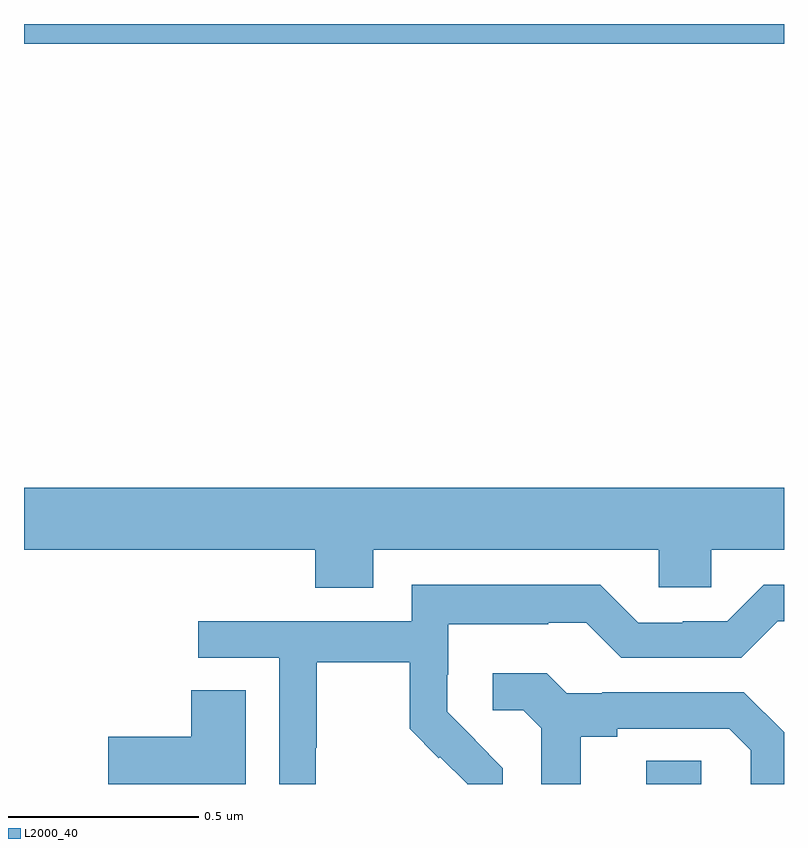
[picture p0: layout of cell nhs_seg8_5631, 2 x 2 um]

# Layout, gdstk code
import gdstk
lib = gdstk.Library(unit=1e-6, precision=1e-09)
def R(c, l, rs):  # rectangles x0, y0, x1, y1
    for r in rs: c.add(gdstk.rectangle(r[:2], r[2:], *l))
def P(c, l, *ps):  # polygons
    for p in ps: c.add(gdstk.Polygon(p, *l))
L2000_40 = (2000, 40)

nhs_seg8_5631 = lib.new_cell('nhs_seg8_5631')
R(nhs_seg8_5631, L2000_40, [(187.637,1099.9,187.782,1099.961), (186,1101.848,188,1101.9)])
P(nhs_seg8_5631, L2000_40, [(186,1100.516),(186.767,1100.516),(186.767,1100.417),(186.919,1100.417),(186.919,1100.516),(187.671,1100.516),(187.671,1100.418),(187.809,1100.418),(187.809,1100.516),(188,1100.516),(188,1100.68),(186,1100.68)],
  [(186.768,1099.996),(186.771,1099.996),(186.771,1100.22),(187.015,1100.22),(187.015,1100.045),(187.092,1099.968),(187.095,1099.971),(187.166,1099.901),(187.166,1099.9),(187.26,1099.9),(187.26,1099.942),(187.187,1100.015),(187.188,1100.016),(187.114,1100.09),(187.114,1100.187),(187.116,1100.187),(187.116,1100.321),(187.379,1100.321),(187.379,1100.325),(187.479,1100.325),(187.572,1100.232),(187.887,1100.232),(187.983,1100.328),(188,1100.328),(188,1100.424),(187.947,1100.424),(187.851,1100.328),(187.733,1100.328),(187.733,1100.325),(187.617,1100.325),(187.517,1100.425),(187.02,1100.425),(187.02,1100.328),(186.459,1100.328),(186.459,1100.232),(186.672,1100.232),(186.672,1099.9),(186.768,1099.9)],
  [(187.465,1100.024),(187.561,1100.024),(187.561,1100.046),(187.856,1100.046),(187.913,1099.989),(187.913,1099.9),(188,1099.9),(188,1100.036),(187.894,1100.142),(187.522,1100.142),(187.522,1100.139),(187.428,1100.139),(187.376,1100.191),(187.233,1100.191),(187.233,1100.094),(187.314,1100.094),(187.361,1100.047),(187.361,1099.9),(187.465,1099.9)],
  [(186.583,1100.147),(186.44,1100.147),(186.44,1100.024),(186.222,1100.024),(186.222,1099.9),(186.583,1099.9)])

lib.write_gds('nhs_seg8_5631.gds')
